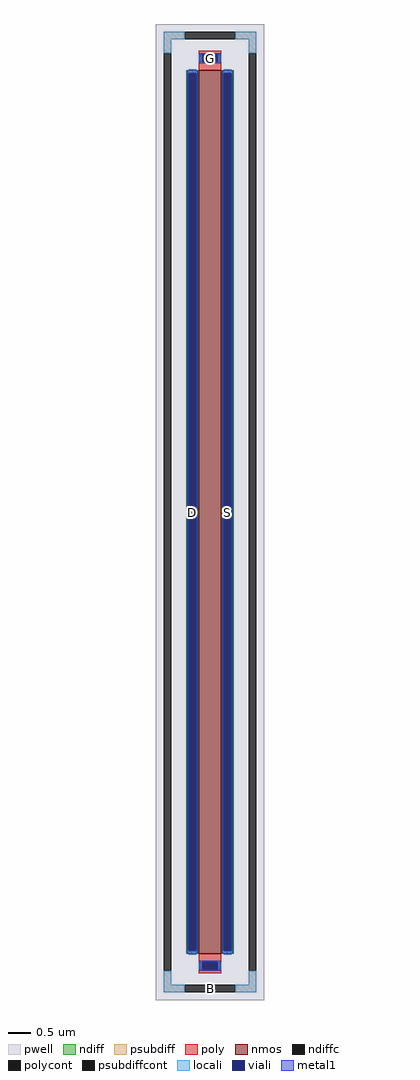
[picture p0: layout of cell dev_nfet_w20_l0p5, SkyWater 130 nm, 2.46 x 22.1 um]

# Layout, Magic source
magic
tech sky130A
magscale 1 2
<< pwell >>
rect -246 -2210 246 2210
<< nmos >>
rect -50 -2000 50 2000
<< ndiff >>
rect -108 1988 -50 2000
rect -108 -1988 -96 1988
rect -62 -1988 -50 1988
rect -108 -2000 -50 -1988
rect 50 1988 108 2000
rect 50 -1988 62 1988
rect 96 -1988 108 1988
rect 50 -2000 108 -1988
<< ndiffc >>
rect -96 -1988 -62 1988
rect 62 -1988 96 1988
<< psubdiff >>
rect -210 2140 -114 2174
rect 114 2140 210 2174
rect -210 2078 -176 2140
rect 176 2078 210 2140
rect -210 -2140 -176 -2078
rect 176 -2140 210 -2078
rect -210 -2174 -114 -2140
rect 114 -2174 210 -2140
<< psubdiffcont >>
rect -114 2140 114 2174
rect -210 -2078 -176 2078
rect 176 -2078 210 2078
rect -114 -2174 114 -2140
<< poly >>
rect -50 2072 50 2088
rect -50 2038 -34 2072
rect 34 2038 50 2072
rect -50 2000 50 2038
rect -50 -2038 50 -2000
rect -50 -2072 -34 -2038
rect 34 -2072 50 -2038
rect -50 -2088 50 -2072
<< polycont >>
rect -34 2038 34 2072
rect -34 -2072 34 -2038
<< locali >>
rect -210 2140 -114 2174
rect 114 2140 210 2174
rect -210 2078 -176 2140
rect 176 2078 210 2140
rect -50 2038 -34 2072
rect 34 2038 50 2072
rect -96 1988 -62 2004
rect -96 -2004 -62 -1988
rect 62 1988 96 2004
rect 62 -2004 96 -1988
rect -50 -2072 -34 -2038
rect 34 -2072 50 -2038
rect -210 -2140 -176 -2078
rect 176 -2140 210 -2078
rect -210 -2174 -114 -2140
rect 114 -2174 210 -2140
<< viali >>
rect -34 2038 34 2072
rect -96 -1988 -62 1988
rect 62 -1988 96 1988
rect -34 -2072 34 -2038
<< metal1 >>
rect -46 2072 46 2078
rect -46 2038 -34 2072
rect 34 2038 46 2072
rect -46 2032 46 2038
rect -102 1988 -56 2000
rect -102 -1988 -96 1988
rect -62 -1988 -56 1988
rect -102 -2000 -56 -1988
rect 56 1988 102 2000
rect 56 -1988 62 1988
rect 96 -1988 102 1988
rect 56 -2000 102 -1988
rect -46 -2038 46 -2032
rect -46 -2072 -34 -2038
rect 34 -2072 46 -2038
rect -46 -2078 46 -2072
<< labels >>
rlabel psubdiffcont 0 -2157 0 -2157 0 B
port 1 nsew
rlabel ndiffc -79 0 -79 0 0 D
port 2 nsew
rlabel ndiffc 79 0 79 0 0 S
port 3 nsew
rlabel polycont 0 2055 0 2055 0 G
port 4 nsew
<< properties >>
string FIXED_BBOX -193 -2157 193 2157
string gencell sky130_fd_pr__nfet_01v8
string library sky130
string parameters w 20 l 0.5 m 1 nf 1 diffcov 100 polycov 100 guard 1 glc 1 grc 1 gtc 1 gbc 1 tbcov 100 rlcov 100 topc 1 botc 1 poverlap 0 doverlap 1 lmin 0.15 wmin 0.42 class mosfet compatible {sky130_fd_pr__nfet_01v8 sky130_fd_pr__nfet_01v8_lvt  sky130_fd_bs_flash__special_sonosfet_star  sky130_fd_pr__nfet_g5v0d10v5 sky130_fd_pr__nfet_05v0_nvt  sky130_fd_pr__nfet_03v3_nvt} full_metal 1 conn_gates 0 viasrc 100 viadrn 100 viagate 100 viagb 0 viagr 0 viagl 0 viagt 0 doports 1
<< end >>
